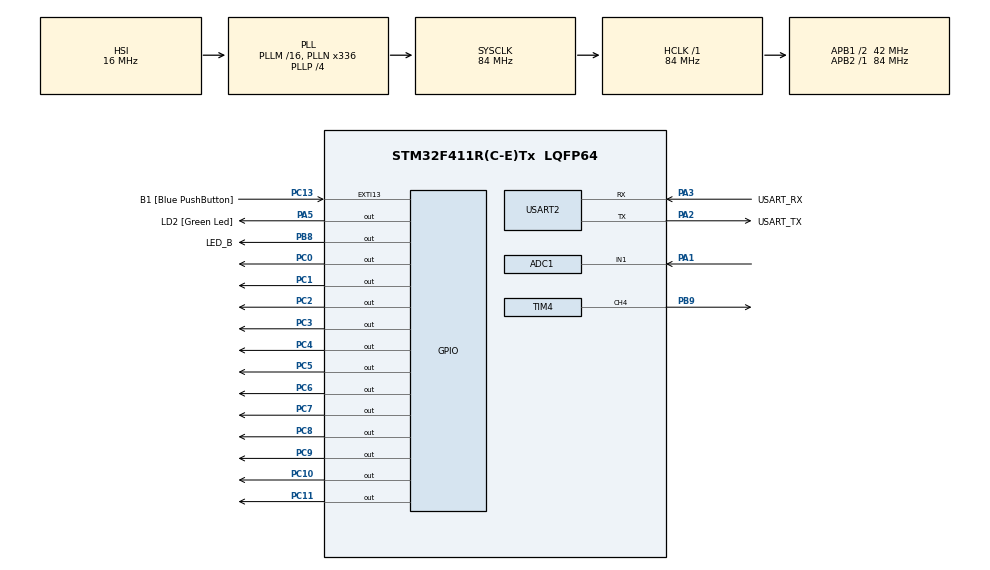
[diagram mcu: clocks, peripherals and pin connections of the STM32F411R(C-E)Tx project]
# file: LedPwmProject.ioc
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ADC1.Channel-0\#ChannelRegularConversion=ADC_CHANNEL_1
ADC1.DMAContinuousRequests=ENABLE
ADC1.ExternalTrigConv=ADC_EXTERNALTRIGCONV_T2_TRGO
ADC1.NbrOfConversionFlag=1
ADC1.Rank-0\#ChannelRegularConversion=1
ADC1.SamplingTime-0\#ChannelRegularConversion=ADC_SAMPLETIME_480CYCLES
ADC1.ScanConvMode=ENABLE
ADC1.master=1
Dma.ADC1.0.Direction=DMA_PERIPH_TO_MEMORY
Dma.ADC1.0.FIFOMode=DMA_FIFOMODE_DISABLE
Dma.ADC1.0.Instance=DMA2_Stream0
Dma.ADC1.0.MemDataAlignment=DMA_MDATAALIGN_HALFWORD
Dma.ADC1.0.MemInc=DMA_MINC_ENABLE
Dma.ADC1.0.Mode=DMA_CIRCULAR
Dma.ADC1.0.PeriphDataAlignment=DMA_PDATAALIGN_HALFWORD
Dma.ADC1.0.PeriphInc=DMA_PINC_DISABLE
Dma.ADC1.0.Priority=DMA_PRIORITY_LOW
Dma.Request0=ADC1
Dma.Request1=USART2_TX
Dma.USART2_TX.1.Direction=DMA_MEMORY_TO_PERIPH
Dma.USART2_TX.1.FIFOMode=DMA_FIFOMODE_DISABLE
Dma.USART2_TX.1.Instance=DMA1_Stream6
Dma.USART2_TX.1.MemDataAlignment=DMA_MDATAALIGN_BYTE
Dma.USART2_TX.1.MemInc=DMA_MINC_ENABLE
Dma.USART2_TX.1.Mode=DMA_NORMAL
Dma.USART2_TX.1.PeriphDataAlignment=DMA_PDATAALIGN_BYTE
Dma.USART2_TX.1.PeriphInc=DMA_PINC_DISABLE
Dma.USART2_TX.1.Priority=DMA_PRIORITY_LOW
Mcu.Family=STM32F4
Mcu.Name=STM32F411R(C-E)Tx
Mcu.Package=LQFP64
NVIC.DMA1_Stream6_IRQn=true\:0\:0\:false\:false\:true\:false\:true
NVIC.DMA2_Stream0_IRQn=true\:0\:0\:false\:false\:true\:false\:true
NVIC.PriorityGroup=NVIC_PRIORITYGROUP_0
NVIC.TIM1_UP_TIM10_IRQn=true\:0\:0\:false\:false\:true\:true\:true
NVIC.TIM2_IRQn=true\:0\:0\:false\:false\:true\:true\:true
NVIC.TIM4_IRQn=true\:0\:0\:false\:false\:true\:true\:true
NVIC.USART2_IRQn=true\:0\:0\:false\:false\:true\:true\:true
PA1.Signal=ADCx_IN1
PA13.GPIO_Label=TMS
PA13.Mode=Serial_Wire
PA13.Signal=SYS_JTMS-SWDIO
PA14.GPIO_Label=TCK
PA14.Mode=Serial_Wire
PA14.Signal=SYS_JTCK-SWCLK
PA2.GPIO_Label=USART_TX
PA2.Mode=Asynchronous
PA2.Signal=USART2_TX
PA3.GPIO_Label=USART_RX
PA3.Mode=Asynchronous
PA3.Signal=USART2_RX
PA5.GPIO_Label=LD2 [Green Led]
PA5.Signal=GPIO_Output
PB3.GPIO_Label=SWO
PB3.Signal=SYS_JTDO-SWO
PB7.Signal=S_TIM4_CH2
PB8.GPIO_Label=LED_B
PB8.Signal=GPIO_Output
PB9.Signal=S_TIM4_CH4
PC0.Signal=GPIO_Output
PC1.Signal=GPIO_Output
PC10.Signal=GPIO_Output
PC11.Signal=GPIO_Output
PC13-ANTI_TAMP.GPIO_Label=B1 [Blue PushButton]
PC13-ANTI_TAMP.GPIO_ModeDefaultEXTI=GPIO_MODE_IT_FALLING
PC13-ANTI_TAMP.Signal=GPXTI13
PC14-OSC32_IN.Mode=LSE-External-Oscillator
PC14-OSC32_IN.Signal=RCC_OSC32_IN
PC15-OSC32_OUT.Mode=LSE-External-Oscillator
PC15-OSC32_OUT.Signal=RCC_OSC32_OUT
PC2.Signal=GPIO_Output
PC3.Signal=GPIO_Output
PC4.Signal=GPIO_Output
PC5.Signal=GPIO_Output
PC6.Signal=GPIO_Output
PC7.Signal=GPIO_Output
PC8.Signal=GPIO_Output
PC9.Signal=GPIO_Output
PH0\ -\ OSC_IN.Mode=HSE-External-Clock-Source
PH0\ -\ OSC_IN.Signal=RCC_OSC_IN
PH1\ -\ OSC_OUT.Mode=HSE-External-Clock-Source
PH1\ -\ OSC_OUT.Signal=RCC_OSC_OUT
ProjectManager.HeapSize=0x200
ProjectManager.StackSize=0x400
ProjectManager.TargetToolchain=STM32CubeIDE
RCC.48MHZClocksFreq_Value=84000000
RCC.AHBFreq_Value=84000000
RCC.APB1CLKDivider=RCC_HCLK_DIV2
RCC.APB1Freq_Value=42000000
RCC.APB1TimFreq_Value=84000000
RCC.APB2Freq_Value=84000000
RCC.APB2TimFreq_Value=84000000
RCC.CortexFreq_Value=84000000
RCC.FLatency-AdvancedSettings=FLASH_LATENCY_2
RCC.HCLKFreq_Value=84000000
RCC.HSE_VALUE=8000000
RCC.HSI_VALUE=16000000
RCC.PLLN=336
RCC.PLLP=RCC_PLLP_DIV4
RCC.SYSCLKFreq_VALUE=84000000
RCC.SYSCLKSource=RCC_SYSCLKSOURCE_PLLCLK
RCC.VCOOutputFreq_Value=336000000
SH.ADCx_IN1.0=ADC1_IN1,IN1
SH.S_TIM4_CH2.0=TIM4_CH2
SH.S_TIM4_CH4.0=TIM4_CH4,PWM Generation4 CH4
TIM10.Period=100
TIM10.Prescaler=100
TIM2.Period=2999
TIM2.Prescaler=8399
TIM2.TIM_MasterOutputTrigger=TIM_TRGO_UPDATE
TIM4.Channel-PWM\ Generation4\ CH4=TIM_CHANNEL_4
TIM4.OCFastMode_PWM-PWM\ Generation4\ CH4=TIM_OCFAST_DISABLE
TIM4.OCPolarity_4=TIM_OCPOLARITY_LOW
TIM4.Period=49999
TIM4.Prescaler=3
USART2.VirtualMode=VM_ASYNC
VP_TIM10_VS_ClockSourceINT.Mode=Enable_Timer
VP_TIM2_VS_ClockSourceINT.Mode=Internal
VP_TIM4_VS_ClockSourceINT.Mode=Internal
board=NUCLEO-F411RE

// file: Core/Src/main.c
/* USER CODE BEGIN Header */
/**
  ******************************************************************************
  * @file           : main.c
  * @brief          : Main program body
  ******************************************************************************
  * @attention
  *
  * <h2><center>&copy; Copyright (c) 2020 STMicroelectronics.
  * All rights reserved.</center></h2>
  *
  * This software component is licensed by ST under BSD 3-Clause license,
  * the "License"; You may not use this file except in compliance with the
  * License. You may obtain a copy of the License at:
  *                        opensource.org/licenses/BSD-3-Clause
  *
  ******************************************************************************
  */
/* USER CODE END Header */
#include "main.h"

ADC_HandleTypeDef hadc1;
DMA_HandleTypeDef hdma_adc1;

TIM_HandleTypeDef htim2;
TIM_HandleTypeDef htim4;
TIM_HandleTypeDef htim10;

UART_HandleTypeDef huart2;
DMA_HandleTypeDef hdma_usart2_tx;

/* USER CODE BEGIN PV */

//_______________________________________________________________________________________________________________________________________________________________________

GPIO_TypeDef * Ax = GPIOC;
const uint16_t APin = GPIO_PIN_6;
GPIO_TypeDef * Bx = GPIOC;
const uint16_t BPin = GPIO_PIN_4;
GPIO_TypeDef * Cx = GPIOC;
const uint16_t CPin = GPIO_PIN_3;
GPIO_TypeDef * Dx = GPIOC;
const uint16_t DPin = GPIO_PIN_1;
GPIO_TypeDef * Ex = GPIOC;
const uint16_t EPin = GPIO_PIN_2;
GPIO_TypeDef * Fx = GPIOC;
const uint16_t FPin = GPIO_PIN_5;
GPIO_TypeDef * Gx = GPIOC;
const uint16_t GPin = GPIO_PIN_0;
GPIO_TypeDef * DPx = GPIOC;
const uint16_t DPPin = GPIO_PIN_7;

//Zmienne programu
volatile char numersToDisplay[4] = {0, 1, 2, 3};
volatile _Bool pointPosition[4] = {0, 0, 0, 0};
const uint16_t positonSelect[4] = {GPIO_PIN_11, GPIO_PIN_10, GPIO_PIN_9, GPIO_PIN_8};
volatile char rotor = 0;

// Zmienne odpowiadające za obsługę przetwornika ADC
double raw = 0.0;
volatile uint16_t ADCValue;
volatile uint8_t ADCReady; // Flaga czy już jest nowy gotowy odczyt

// Zmienne odpowiadające za komunikację przez UART
volatile uint8_t TXReady = 1;
uint8_t TxData[10];
uint16_t TxDataSize = 0;

// Zmienne odpowiadające za sterowanie sygnałem PWM
uint16_t lastPWM = 0;
const uint16_t PPeriod = 600; // Stała proporcjonalności
const uint16_t ITime = 40; // Stała całkowania

// Funkcja wyświetlająca wybraną cyfrę(chodzi o kolejność) na wbudowanym wyświetlaczu
void displayNumer(char numer, char position, _Bool point) {
    //Wyświetlanie kropki
	if(point) HAL_GPIO_WritePin(DPx, DPPin, GPIO_PIN_SET);
	else HAL_GPIO_WritePin(DPx, DPPin, GPIO_PIN_RESET);

    //Resetowanie wyświetlanego ekranu
    HAL_GPIO_WritePin(GPIOC, positonSelect[0], GPIO_PIN_SET);
    HAL_GPIO_WritePin(GPIOC, positonSelect[1], GPIO_PIN_SET);
    HAL_GPIO_WritePin(GPIOC, positonSelect[2], GPIO_PIN_SET);
    HAL_GPIO_WritePin(GPIOC, positonSelect[3], GPIO_PIN_SET);

    //Wybieranie pola w ekranie
    HAL_GPIO_WritePin(GPIOC, positonSelect[position], GPIO_PIN_RESET);

    //Wyświetlanie numeru
	switch(numer) {
	case 0:
	  HAL_GPIO_WritePin(Ax, APin, GPIO_PIN_SET);
	  HAL_GPIO_WritePin(Bx, BPin, GPIO_PIN_SET);
	  HAL_GPIO_WritePin(Cx, CPin, GPIO_PIN_SET);
	  HAL_GPIO_WritePin(Dx, DPin, GPIO_PIN_SET);
	  HAL_GPIO_WritePin(Ex, EPin, GPIO_PIN_SET);
	  HAL_GPIO_WritePin(Fx, FPin, GPIO_PIN_SET);
	  HAL_GPIO_WritePin(Gx, GPin, GPIO_PIN_RESET);
	  break;
	case 1:
	  HAL_GPIO_WritePin(Ax, APin, GPIO_PIN_RESET);
	  HAL_GPIO_WritePin(Bx, BPin, GPIO_PIN_SET);
	  HAL_GPIO_WritePin(Cx, CPin, GPIO_PIN_SET);
	  HAL_GPIO_WritePin(Dx, DPin, GPIO_PIN_RESET);
	  HAL_GPIO_WritePin(Ex, EPin, GPIO_PIN_RESET);
	  HAL_GPIO_WritePin(Fx, FPin, GPIO_PIN_RESET);
	  HAL_GPIO_WritePin(Gx, GPin, GPIO_PIN_RESET);
	  break;
	case 2:
	  HAL_GPIO_WritePin(Ax, APin, GPIO_PIN_SET);
	  HAL_GPIO_WritePin(Bx, BPin, GPIO_PIN_SET);
	  HAL_GPIO_WritePin(Cx, CPin, GPIO_PIN_RESET);
	  HAL_GPIO_WritePin(Dx, DPin, GPIO_PIN_SET);
	  HAL_GPIO_WritePin(Ex, EPin, GPIO_PIN_SET);
	  HAL_GPIO_WritePin(Fx, FPin, GPIO_PIN_RESET);
	  HAL_GPIO_WritePin(Gx, GPin, GPIO_PIN_SET);
	  break;
	case 3:
	  HAL_GPIO_WritePin(Ax, APin, GPIO_PIN_SET);
	  HAL_GPIO_WritePin(Bx, BPin, GPIO_PIN_SET);
	  HAL_GPIO_WritePin(Cx, CPin, GPIO_PIN_SET);
	  HAL_GPIO_WritePin(Dx, DPin, GPIO_PIN_SET);
	  HAL_GPIO_WritePin(Ex, EPin, GPIO_PIN_RESET);
	  HAL_GPIO_WritePin(Fx, FPin, GPIO_PIN_RESET);
	  HAL_GPIO_WritePin(Gx, GPin, GPIO_PIN_SET);
	  break;
	case 4:
	  HAL_GPIO_WritePin(Ax, APin, GPIO_PIN_RESET);
	  HAL_GPIO_WritePin(Bx, BPin, GPIO_PIN_SET);
	  HAL_GPIO_WritePin(Cx, CPin, GPIO_PIN_SET);
	  HAL_GPIO_WritePin(Dx, DPin, GPIO_PIN_RESET);
	  HAL_GPIO_WritePin(Ex, EPin, GPIO_PIN_RESET);
	  HAL_GPIO_WritePin(Fx, FPin, GPIO_PIN_SET);
	  HAL_GPIO_WritePin(Gx, GPin, GPIO_PIN_SET);
	  break;
	case 5:
	  HAL_GPIO_WritePin(Ax, APin, GPIO_PIN_SET);
	  HAL_GPIO_WritePin(Bx, BPin, GPIO_PIN_RESET);
	  HAL_GPIO_WritePin(Cx, CPin, GPIO_PIN_SET);
	  HAL_GPIO_WritePin(Dx, DPin, GPIO_PIN_SET);
	  HAL_GPIO_WritePin(Ex, EPin, GPIO_PIN_RESET);
	  HAL_GPIO_WritePin(Fx, FPin, GPIO_PIN_SET);
	  HAL_GPIO_WritePin(Gx, GPin, GPIO_PIN_SET);
	  break;
	case 6:
	  HAL_GPIO_WritePin(Ax, APin, GPIO_PIN_SET);
	  HAL_GPIO_WritePin(Bx, BPin, GPIO_PIN_RESET);
	  HAL_GPIO_WritePin(Cx, CPin, GPIO_PIN_SET);
	  HAL_GPIO_WritePin(Dx, DPin, GPIO_PIN_SET);
	  HAL_GPIO_WritePin(Ex, EPin, GPIO_PIN_SET);
	  HAL_GPIO_WritePin(Fx, FPin, GPIO_PIN_SET);
	  HAL_GPIO_WritePin(Gx, GPin, GPIO_PIN_SET);
	  break;
	case 7:
	  HAL_GPIO_WritePin(Ax, APin, GPIO_PIN_SET);
	  HAL_GPIO_WritePin(Bx, BPin, GPIO_PIN_SET);
	  HAL_GPIO_WritePin(Cx, CPin, GPIO_PIN_SET);
	  HAL_GPIO_WritePin(Dx, DPin, GPIO_PIN_RESET);
	  HAL_GPIO_WritePin(Ex, EPin, GPIO_PIN_RESET);
	  HAL_GPIO_WritePin(Fx, FPin, GPIO_PIN_RESET);
	  HAL_GPIO_WritePin(Gx, GPin, GPIO_PIN_RESET);
	  break;
	case 8:
	  HAL_GPIO_WritePin(Ax, APin, GPIO_PIN_SET);
	  HAL_GPIO_WritePin(Bx, BPin, GPIO_PIN_SET);
	  HAL_GPIO_WritePin(Cx, CPin, GPIO_PIN_SET);
	  HAL_GPIO_WritePin(Dx, DPin, GPIO_PIN_SET);
	  HAL_GPIO_WritePin(Ex, EPin, GPIO_PIN_SET);
	  HAL_GPIO_WritePin(Fx, FPin, GPIO_PIN_SET);
	  HAL_GPIO_WritePin(Gx, GPin, GPIO_PIN_SET);
	  break;
	case 9:
	  HAL_GPIO_WritePin(Ax, APin, GPIO_PIN_SET);
	  HAL_GPIO_WritePin(Bx, BPin, GPIO_PIN_SET);
	  HAL_GPIO_WritePin(Cx, CPin, GPIO_PIN_SET);
	  HAL_GPIO_WritePin(Dx, DPin, GPIO_PIN_SET);
	  HAL_GPIO_WritePin(Ex, EPin, GPIO_PIN_RESET);
	  HAL_GPIO_WritePin(Fx, FPin, GPIO_PIN_SET);
	  HAL_GPIO_WritePin(Gx, GPin, GPIO_PIN_SET);
	  break;
	default:
	  HAL_GPIO_WritePin(Ax, APin, GPIO_PIN_SET);
	  HAL_GPIO_WritePin(Bx, BPin, GPIO_PIN_RESET);
	  HAL_GPIO_WritePin(Cx, CPin, GPIO_PIN_RESET);
	  HAL_GPIO_WritePin(Dx, DPin, GPIO_PIN_SET);
	  HAL_GPIO_WritePin(Ex, EPin, GPIO_PIN_SET);
	  HAL_GPIO_WritePin(Fx, FPin, GPIO_PIN_SET);
	  HAL_GPIO_WritePin(Gx, GPin, GPIO_PIN_SET);
	  break;
	}
}

// Funkcja pomocnicza do convertDouble dla liczb < 10000 oraz > 1000
void convertDouble10000(double numer) {
	numersToDisplay[0] = ((int)(numer) % 10000) / 1000;
    numersToDisplay[1] = ((int)(numer) % 1000) / 100;
    numersToDisplay[2] = ((int)(numer) % 100) / 10;
    numersToDisplay[3] = (int)(numer) % 10;

    pointPosition[0] = 0;
    pointPosition[1] = 0;
    pointPosition[2] = 0;
    pointPosition[3] = 0;
}

// Funkcja pomocnicza do convertDouble dla liczb < 1000 oraz > 100
void convertDouble1000(double numer) {
    numersToDisplay[0] = ((int)(numer) % 1000) / 100;
    numersToDisplay[1] = ((int)(numer) % 100) / 10;
    numersToDisplay[2] = (int)(numer) % 10;
    numersToDisplay[3] = (int)(numer * 10) % 10;

    pointPosition[0] = 0;
    pointPosition[1] = 0;
    pointPosition[2] = 1;
    pointPosition[3] = 0;
}

// Funkcja pomocnicza do convertDouble dla liczb < 100 oraz > 10
void convertDouble100(double numer) {
    numersToDisplay[0] = ((int)(numer) % 100) / 10;
    numersToDisplay[1] = (int)(numer) % 10;
    numersToDisplay[2] = (int)(numer * 10) % 10;
    numersToDisplay[3] = (int)(numer * 100) % 10;

    pointPosition[0] = 0;
    pointPosition[1] = 1;
    pointPosition[2] = 0;
    pointPosition[3] = 0;
}

// Funkcja pomocnicza do convertDouble dla liczb < 10
void convertDouble10(double numer) {
    numersToDisplay[0] = (int)(numer) % 10;
    numersToDisplay[1] = (int)(numer * 10) % 10;
    numersToDisplay[2] = (int)(numer * 100) % 10;
    numersToDisplay[3] = (int)(numer * 1000) % 10;

    pointPosition[0] = 1;
    pointPosition[1] = 0;
    pointPosition[2] = 0;
    pointPosition[3] = 0;
}

// Funkcja przepisująca liczbę od tablic odpowiadających za wyświetlanie na ekranie wbudowanym w płytkę
void convertDouble(double numer) {
    if (numer < 10) convertDouble10(numer);
    else if (numer < 100) convertDouble100(numer);
    else if (numer < 1000) convertDouble1000(numer);
    else if (numer < 10000) convertDouble10000(numer);
    else {
        //Zwracanie błędu
        numersToDisplay[0] = 10;
        numersToDisplay[1] = 10;
        numersToDisplay[2] = 10;
        numersToDisplay[3] = 10;

        pointPosition[0] = 0;
        pointPosition[1] = 0;
        pointPosition[2] = 0;
        pointPosition[3] = 0;
    }
}

// Funkcja obliczająca nową wartość PWM
uint16_t calculatePWMValue() {

	uint16_t buffor = ADCValue;

	buffor *= 12;

	if(buffor > lastPWM + PPeriod) lastPWM += PPeriod/2;
	else if(buffor < lastPWM - PPeriod) lastPWM -= PPeriod/2;
	else lastPWM = buffor;

	return lastPWM;
}

/* USER CODE END PV */

void SystemClock_Config(void);
static void MX_GPIO_Init(void);
static void MX_DMA_Init(void);
static void MX_USART2_UART_Init(void);
static void MX_ADC1_Init(void);
static void MX_TIM2_Init(void);
static void MX_TIM10_Init(void);
static void MX_TIM4_Init(void);

int main(void)
{

  /* MCU Configuration--------------------------------------------------------*/

  /* Reset of all peripherals, Initializes the Flash interface and the Systick. */
  HAL_Init();

  /* Configure the system clock */
  SystemClock_Config();

  /* Initialize all configured peripherals */
  MX_GPIO_Init();
  MX_DMA_Init();
  MX_USART2_UART_Init();
  MX_ADC1_Init();
  MX_TIM2_Init();
  MX_TIM10_Init();
  MX_TIM4_Init();
  /* USER CODE BEGIN 2 */
  //_______________________________________________________________________________________________________________________________________________________________________
  // Inicjalizowanie timera odpowiadającego za działanie cykliczego przerwania funkcyjnego
  HAL_TIM_Base_Start_IT(&htim10);
  // Inicjalizowanie timera odpowiadającego za cykliczne działanie przetwornika ADC DMA
  HAL_TIM_Base_Start(&htim2);
  // Inicjalizowanie timera odpowiadającego za sterowanie pinem PWM
  HAL_TIM_PWM_Start(&htim4, TIM_CHANNEL_4);
  // Inicjalizowanie pinu ADC DMA
  HAL_ADC_Start_DMA(&hadc1, &ADCValue, 1);
  // Inicjalizowanie stanu pinu LED(niebieskiego) na który wysyłamy sygnał PWM
  HAL_GPIO_WritePin(LED_B_GPIO_Port, LED_B_Pin, GPIO_PIN_RESET);
  /* USER CODE END 2 */

  /* Infinite loop */
  /* USER CODE BEGIN WHILE */
  while (1)
  {

	HAL_Delay(ITime);
	// Aktualizowanie wartości rejestru odpowiadającego za wartość PWM
	TIM4->CCR4 = calculatePWMValue();

    /* USER CODE END WHILE */

  }
}

void SystemClock_Config(void)
{
  RCC_OscInitTypeDef RCC_OscInitStruct = {0};
  RCC_ClkInitTypeDef RCC_ClkInitStruct = {0};

  /** Configure the main internal regulator output voltage
  */
  __HAL_RCC_PWR_CLK_ENABLE();
  __HAL_PWR_VOLTAGESCALING_CONFIG(PWR_REGULATOR_VOLTAGE_SCALE1);
  /** Initializes the RCC Oscillators according to the specified parameters
  * in the RCC_OscInitTypeDef structure.
  */
  RCC_OscInitStruct.OscillatorType = RCC_OSCILLATORTYPE_HSI;
  RCC_OscInitStruct.HSIState = RCC_HSI_ON;
  RCC_OscInitStruct.HSICalibrationValue = RCC_HSICALIBRATION_DEFAULT;
  RCC_OscInitStruct.PLL.PLLState = RCC_PLL_ON;
  RCC_OscInitStruct.PLL.PLLSource = RCC_PLLSOURCE_HSI;
  RCC_OscInitStruct.PLL.PLLM = 16;
  RCC_OscInitStruct.PLL.PLLN = 336;
  RCC_OscInitStruct.PLL.PLLP = RCC_PLLP_DIV4;
  RCC_OscInitStruct.PLL.PLLQ = 4;
  if (HAL_RCC_OscConfig(&RCC_OscInitStruct) != HAL_OK)
  {
    Error_Handler();
  }
  /** Initializes the CPU, AHB and APB buses clocks
  */
  RCC_ClkInitStruct.ClockType = RCC_CLOCKTYPE_HCLK|RCC_CLOCKTYPE_SYSCLK
                              |RCC_CLOCKTYPE_PCLK1|RCC_CLOCKTYPE_PCLK2;
  RCC_ClkInitStruct.SYSCLKSource = RCC_SYSCLKSOURCE_PLLCLK;
  RCC_ClkInitStruct.AHBCLKDivider = RCC_SYSCLK_DIV1;
  RCC_ClkInitStruct.APB1CLKDivider = RCC_HCLK_DIV2;
  RCC_ClkInitStruct.APB2CLKDivider = RCC_HCLK_DIV1;

  if (HAL_RCC_ClockConfig(&RCC_ClkInitStruct, FLASH_LATENCY_2) != HAL_OK)
  {
    Error_Handler();
  }
}

static void MX_ADC1_Init(void)
{

  ADC_ChannelConfTypeDef sConfig = {0};

  /** Configure the global features of the ADC (Clock, Resolution, Data Alignment and number of conversion)
  */
  hadc1.Instance = ADC1;
  hadc1.Init.ClockPrescaler = ADC_CLOCK_SYNC_PCLK_DIV4;
  hadc1.Init.Resolution = ADC_RESOLUTION_12B;
  hadc1.Init.ScanConvMode = ENABLE;
  hadc1.Init.ContinuousConvMode = DISABLE;
  hadc1.Init.DiscontinuousConvMode = DISABLE;
  hadc1.Init.ExternalTrigConvEdge = ADC_EXTERNALTRIGCONVEDGE_RISING;
  hadc1.Init.ExternalTrigConv = ADC_EXTERNALTRIGCONV_T2_TRGO;
  hadc1.Init.DataAlign = ADC_DATAALIGN_RIGHT;
  hadc1.Init.NbrOfConversion = 1;
  hadc1.Init.DMAContinuousRequests = ENABLE;
  hadc1.Init.EOCSelection = ADC_EOC_SINGLE_CONV;
  if (HAL_ADC_Init(&hadc1) != HAL_OK)
  {
    Error_Handler();
  }
  /** Configure for the selected ADC regular channel its corresponding rank in the sequencer and its sample time.
  */
  sConfig.Channel = ADC_CHANNEL_1;
  sConfig.Rank = 1;
  sConfig.SamplingTime = ADC_SAMPLETIME_480CYCLES;
  if (HAL_ADC_ConfigChannel(&hadc1, &sConfig) != HAL_OK)
  {
    Error_Handler();
  }

}

static void MX_TIM2_Init(void)
{

  TIM_ClockConfigTypeDef sClockSourceConfig = {0};
  TIM_MasterConfigTypeDef sMasterConfig = {0};

  htim2.Instance = TIM2;
  htim2.Init.Prescaler = 8399;
  htim2.Init.CounterMode = TIM_COUNTERMODE_UP;
  htim2.Init.Period = 2999;
  htim2.Init.ClockDivision = TIM_CLOCKDIVISION_DIV1;
  htim2.Init.AutoReloadPreload = TIM_AUTORELOAD_PRELOAD_DISABLE;
  if (HAL_TIM_Base_Init(&htim2) != HAL_OK)
  {
    Error_Handler();
  }
  sClockSourceConfig.ClockSource = TIM_CLOCKSOURCE_INTERNAL;
  if (HAL_TIM_ConfigClockSource(&htim2, &sClockSourceConfig) != HAL_OK)
  {
    Error_Handler();
  }
  sMasterConfig.MasterOutputTrigger = TIM_TRGO_UPDATE;
  sMasterConfig.MasterSlaveMode = TIM_MASTERSLAVEMODE_DISABLE;
  if (HAL_TIMEx_MasterConfigSynchronization(&htim2, &sMasterConfig) != HAL_OK)
  {
    Error_Handler();
  }

}

static void MX_TIM4_Init(void)
{

  TIM_ClockConfigTypeDef sClockSourceConfig = {0};
  TIM_MasterConfigTypeDef sMasterConfig = {0};
  TIM_OC_InitTypeDef sConfigOC = {0};

  htim4.Instance = TIM4;
  htim4.Init.Prescaler = 3;
  htim4.Init.CounterMode = TIM_COUNTERMODE_UP;
  htim4.Init.Period = 49999;
  htim4.Init.ClockDivision = TIM_CLOCKDIVISION_DIV1;
  htim4.Init.AutoReloadPreload = TIM_AUTORELOAD_PRELOAD_DISABLE;
  if (HAL_TIM_Base_Init(&htim4) != HAL_OK)
  {
    Error_Handler();
  }
  sClockSourceConfig.ClockSource = TIM_CLOCKSOURCE_INTERNAL;
  if (HAL_TIM_ConfigClockSource(&htim4, &sClockSourceConfig) != HAL_OK)
  {
    Error_Handler();
  }
  if (HAL_TIM_PWM_Init(&htim4) != HAL_OK)
  {
    Error_Handler();
  }
  sMasterConfig.MasterOutputTrigger = TIM_TRGO_RESET;
  sMasterConfig.MasterSlaveMode = TIM_MASTERSLAVEMODE_DISABLE;
  if (HAL_TIMEx_MasterConfigSynchronization(&htim4, &sMasterConfig) != HAL_OK)
  {
    Error_Handler();
  }
  sConfigOC.OCMode = TIM_OCMODE_PWM1;
  sConfigOC.Pulse = 0;
  sConfigOC.OCPolarity = TIM_OCPOLARITY_LOW;
  sConfigOC.OCFastMode = TIM_OCFAST_DISABLE;
  if (HAL_TIM_PWM_ConfigChannel(&htim4, &sConfigOC, TIM_CHANNEL_4) != HAL_OK)
  {
    Error_Handler();
  }
  HAL_TIM_MspPostInit(&htim4);

}

static void MX_TIM10_Init(void)
{

  htim10.Instance = TIM10;
  htim10.Init.Prescaler = 100;
  htim10.Init.CounterMode = TIM_COUNTERMODE_UP;
  htim10.Init.Period = 100;
  htim10.Init.ClockDivision = TIM_CLOCKDIVISION_DIV1;
  htim10.Init.AutoReloadPreload = TIM_AUTORELOAD_PRELOAD_DISABLE;
  if (HAL_TIM_Base_Init(&htim10) != HAL_OK)
  {
    Error_Handler();
  }

}

static void MX_USART2_UART_Init(void)
{

  huart2.Instance = USART2;
  huart2.Init.BaudRate = 115200;
  huart2.Init.WordLength = UART_WORDLENGTH_8B;
  huart2.Init.StopBits = UART_STOPBITS_1;
  huart2.Init.Parity = UART_PARITY_NONE;
  huart2.Init.Mode = UART_MODE_TX_RX;
  huart2.Init.HwFlowCtl = UART_HWCONTROL_NONE;
  huart2.Init.OverSampling = UART_OVERSAMPLING_16;
  if (HAL_UART_Init(&huart2) != HAL_OK)
  {
    Error_Handler();
  }

}

static void MX_DMA_Init(void)
{

  /* DMA controller clock enable */
  __HAL_RCC_DMA2_CLK_ENABLE();
  __HAL_RCC_DMA1_CLK_ENABLE();

  /* DMA interrupt init */
  /* DMA1_Stream6_IRQn interrupt configuration */
  HAL_NVIC_SetPriority(DMA1_Stream6_IRQn, 0, 0);
  HAL_NVIC_EnableIRQ(DMA1_Stream6_IRQn);
  /* DMA2_Stream0_IRQn interrupt configuration */
  HAL_NVIC_SetPriority(DMA2_Stream0_IRQn, 0, 0);
  HAL_NVIC_EnableIRQ(DMA2_Stream0_IRQn);

}

static void MX_GPIO_Init(void)
{
  GPIO_InitTypeDef GPIO_InitStruct = {0};

  /* GPIO Ports Clock Enable */
  __HAL_RCC_GPIOC_CLK_ENABLE();
  __HAL_RCC_GPIOH_CLK_ENABLE();
  __HAL_RCC_GPIOA_CLK_ENABLE();
  __HAL_RCC_GPIOB_CLK_ENABLE();
  __HAL_RCC_GPIOD_CLK_ENABLE();

  /*Configure GPIO pin Output Level */
  HAL_GPIO_WritePin(GPIOC, GPIO_PIN_0|GPIO_PIN_1|GPIO_PIN_2|GPIO_PIN_3
                          |GPIO_PIN_4|GPIO_PIN_5|GPIO_PIN_6|GPIO_PIN_7
                          |GPIO_PIN_8|GPIO_PIN_9|GPIO_PIN_10|GPIO_PIN_11, GPIO_PIN_RESET);

  /*Configure GPIO pin Output Level */
  HAL_GPIO_WritePin(LD2_GPIO_Port, LD2_Pin, GPIO_PIN_RESET);

  /*Configure GPIO pin Output Level */
  HAL_GPIO_WritePin(LED_B_GPIO_Port, LED_B_Pin, GPIO_PIN_RESET);

  /*Configure GPIO pin : B1_Pin */
  GPIO_InitStruct.Pin = B1_Pin;
  GPIO_InitStruct.Mode = GPIO_MODE_IT_FALLING;
  GPIO_InitStruct.Pull = GPIO_NOPULL;
  HAL_GPIO_Init(B1_GPIO_Port, &GPIO_InitStruct);

  /*Configure GPIO pins : PC0 PC1 PC2 PC3
                           PC4 PC5 PC6 PC7
                           PC8 PC9 PC10 PC11 */
  GPIO_InitStruct.Pin = GPIO_PIN_0|GPIO_PIN_1|GPIO_PIN_2|GPIO_PIN_3
                          |GPIO_PIN_4|GPIO_PIN_5|GPIO_PIN_6|GPIO_PIN_7
                          |GPIO_PIN_8|GPIO_PIN_9|GPIO_PIN_10|GPIO_PIN_11;
  GPIO_InitStruct.Mode = GPIO_MODE_OUTPUT_PP;
  GPIO_InitStruct.Pull = GPIO_NOPULL;
  GPIO_InitStruct.Speed = GPIO_SPEED_FREQ_LOW;
  HAL_GPIO_Init(GPIOC, &GPIO_InitStruct);

  /*Configure GPIO pins : PA0 PA4 PA6 PA7
                           PA8 PA9 PA10 PA11
                           PA12 PA15 */
  GPIO_InitStruct.Pin = GPIO_PIN_0|GPIO_PIN_4|GPIO_PIN_6|GPIO_PIN_7
                          |GPIO_PIN_8|GPIO_PIN_9|GPIO_PIN_10|GPIO_PIN_11
                          |GPIO_PIN_12|GPIO_PIN_15;
  GPIO_InitStruct.Mode = GPIO_MODE_ANALOG;
  GPIO_InitStruct.Pull = GPIO_NOPULL;
  HAL_GPIO_Init(GPIOA, &GPIO_InitStruct);

  /*Configure GPIO pin : LD2_Pin */
  GPIO_InitStruct.Pin = LD2_Pin;
  GPIO_InitStruct.Mode = GPIO_MODE_OUTPUT_PP;
  GPIO_InitStruct.Pull = GPIO_NOPULL;
  GPIO_InitStruct.Speed = GPIO_SPEED_FREQ_LOW;
  HAL_GPIO_Init(LD2_GPIO_Port, &GPIO_InitStruct);

  /*Configure GPIO pins : PB0 PB1 PB2 PB10
                           PB12 PB13 PB14 PB15
                           PB4 PB5 PB6 */
  GPIO_InitStruct.Pin = GPIO_PIN_0|GPIO_PIN_1|GPIO_PIN_2|GPIO_PIN_10
                          |GPIO_PIN_12|GPIO_PIN_13|GPIO_PIN_14|GPIO_PIN_15
                          |GPIO_PIN_4|GPIO_PIN_5|GPIO_PIN_6;
  GPIO_InitStruct.Mode = GPIO_MODE_ANALOG;
  GPIO_InitStruct.Pull = GPIO_NOPULL;
  HAL_GPIO_Init(GPIOB, &GPIO_InitStruct);

  /*Configure GPIO pin : PC12 */
  GPIO_InitStruct.Pin = GPIO_PIN_12;
  GPIO_InitStruct.Mode = GPIO_MODE_ANALOG;
  GPIO_InitStruct.Pull = GPIO_NOPULL;
  HAL_GPIO_Init(GPIOC, &GPIO_InitStruct);

  /*Configure GPIO pin : PD2 */
  GPIO_InitStruct.Pin = GPIO_PIN_2;
  GPIO_InitStruct.Mode = GPIO_MODE_ANALOG;
  GPIO_InitStruct.Pull = GPIO_NOPULL;
  HAL_GPIO_Init(GPIOD, &GPIO_InitStruct);

  /*Configure GPIO pin : LED_B_Pin */
  GPIO_InitStruct.Pin = LED_B_Pin;
  GPIO_InitStruct.Mode = GPIO_MODE_OUTPUT_PP;
  GPIO_InitStruct.Pull = GPIO_NOPULL;
  GPIO_InitStruct.Speed = GPIO_SPEED_FREQ_LOW;
  HAL_GPIO_Init(LED_B_GPIO_Port, &GPIO_InitStruct);

}

/* USER CODE BEGIN 4 */

//_______________________________________________________________________________________________________________________________________________________________________
// Funkcyjne przerwanie cykliczne
void HAL_TIM_PeriodElapsedCallback(TIM_HandleTypeDef *htim)
{
  // Sprawdzanie czy przerwanie wywołał timer 10
  if (htim == &htim10 )
  {
	// Obracanie zmieną odpowiadającą za pozycję wyświetlanej cyfry(realizacja multiplexingu)
    rotor = (rotor + 1) % 4;
    // Wyświetlanie wartości na ekranie
	displayNumer(numersToDisplay[rotor], rotor, pointPosition[rotor]);

	// Update pomiaru ADC
	if(ADCReady == 1) {
		uint16_t buffor = ADCValue;
		convertDouble(buffor);
		ADCReady = 0;
		// Wysyłanie wartości portem szeregowym
		if(TXReady == 1) {
			TxDataSize = snprintf(TxData, sizeof(TxData), "%d\n", buffor);
			HAL_UART_Transmit_DMA(&huart2, TxData, TxDataSize);
			TXReady = 0;
		}
	}

  }
}

void HAL_ADC_ConvCpltCallback(ADC_HandleTypeDef* hadc) {
	ADCReady = 1;
}

void HAL_UART_TxCpltCallback(UART_HandleTypeDef *huart) {
	TXReady = 1;
}

/* USER CODE END 4 */

void Error_Handler(void)
{
}

/************************ (C) COPYRIGHT STMicroelectronics *****END OF FILE****/
